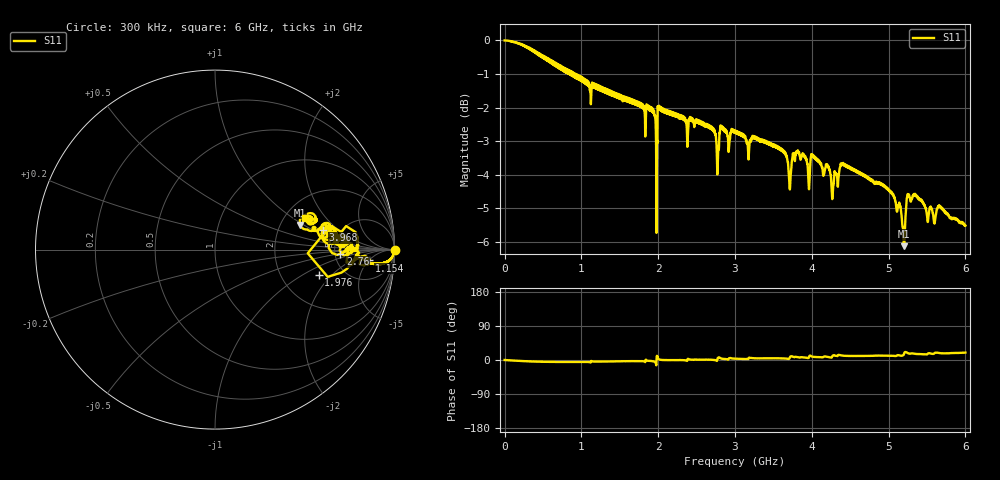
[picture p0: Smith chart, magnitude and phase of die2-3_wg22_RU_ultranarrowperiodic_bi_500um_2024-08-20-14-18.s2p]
!Keysight Technologies,P9374A,MY57304198,A.17.20.09
!Date: Tuesday, August 20, 2024 14:18:18
!Correction: S11(C  1-Port  )
!S21(C  1-Port  )
!S12(Off)
!S22(Off)
!S2P File: Measurements: S11, S21, S12, S22:
# Hz S  dB  R 50
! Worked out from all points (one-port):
!   6000 points, 300 kHz to 6 GHz, reference 50 ohm
!   lowest |S11| = -6.1 dB at 5.201 GHz (marker M1), VSWR 2.95, Z = 128 + j46.5 ohm
!   |S11| at or under -10 dB: nowhere
!   S11 on the Smith chart (normalised r, x): 300 kHz: open; 1.154 GHz: 11, -5; 1.976 GHz: 3.24, -1.44; 2.76 GHz: 5.60, -0.52; 3.968 GHz: 3.66, +1.28; 6 GHz: 2.55, +1.26
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300000  0.00 -0.0  -200.00 45.0  -200.00 45.0  -200.00 45.0
4.083476e8  -0.32 -3.9  -200.00 45.0  -200.00 45.0  -200.00 45.0
1.000417e9  -1.20 -5.1  -200.00 45.0  -200.00 45.0  -200.00 45.0
1.154435e9  -1.28 -4.0  -200.00 45.0  -200.00 45.0  -200.00 45.0
1.862517e9  -1.99 -2.0  -200.00 45.0  -200.00 45.0  -200.00 45.0
1.946527e9  -2.11 -4.0  -200.00 45.0  -200.00 45.0  -200.00 45.0
1.97553e9  -4.51 -14.0  -200.00 45.0  -200.00 45.0  -200.00 45.0
2.000533e9  -2.01 3.3  -200.00 45.0  -200.00 45.0  -200.00 45.0
2.029537e9  -2.08 0.7  -200.00 45.0  -200.00 45.0  -200.00 45.0
2.680613e9  -2.62 0.8  -200.00 45.0  -200.00 45.0  -200.00 45.0
2.759622e9  -3.11 -1.9  -200.00 45.0  -200.00 45.0  -200.00 45.0
2.802627e9  -2.71 5.7  -200.00 45.0  -200.00 45.0  -200.00 45.0
3.00065e9  -2.74 3.6  -200.00 45.0  -200.00 45.0  -200.00 45.0
3.679729e9  -3.53 3.4  -200.00 45.0  -200.00 45.0  -200.00 45.0
3.745737e9  -3.49 9.5  -200.00 45.0  -200.00 45.0  -200.00 45.0
3.967763e9  -4.28 10.3  -200.00 45.0  -200.00 45.0  -200.00 45.0
4.000767e9  -3.43 9.2  -200.00 45.0  -200.00 45.0  -200.00 45.0
5.000883e9  -4.45 11.3  -200.00 45.0  -200.00 45.0  -200.00 45.0
5.200907e9  -6.12 16.1  -200.00 45.0  -200.00 45.0  -200.00 45.0
5.236911e9  -4.70 20.1  -200.00 45.0  -200.00 45.0  -200.00 45.0
5.351924e9  -4.61 16.1  -200.00 45.0  -200.00 45.0  -200.00 45.0
6e9  -5.51 19.6  -200.00 45.0  -200.00 45.0  -200.00 45.0
